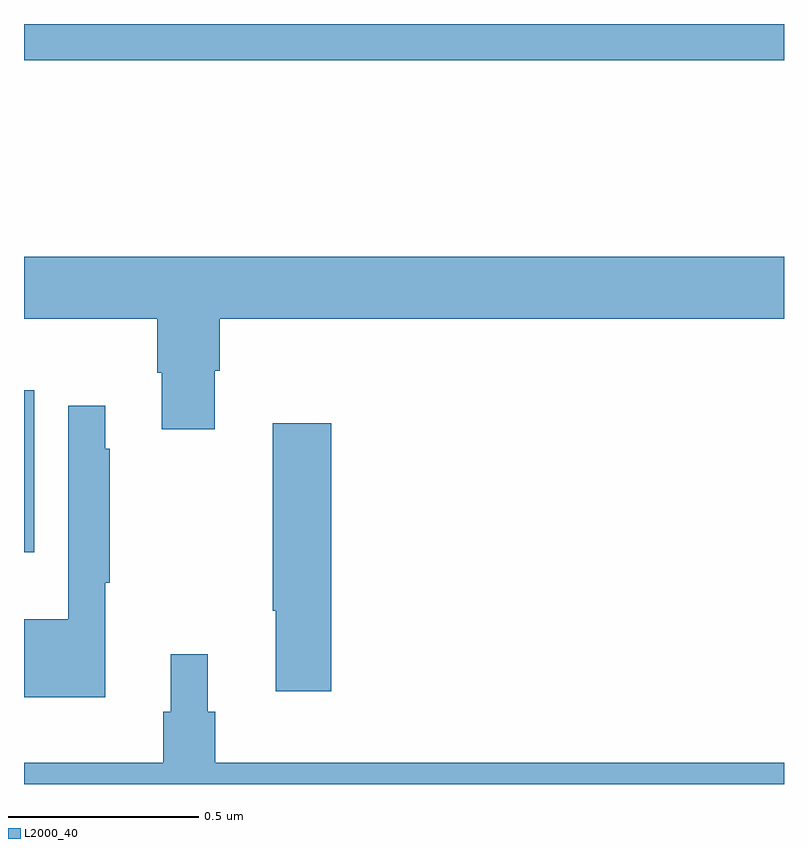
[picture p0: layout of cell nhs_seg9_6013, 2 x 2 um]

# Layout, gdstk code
import gdstk
lib = gdstk.Library(unit=1e-6, precision=1e-09)
def R(c, l, rs):  # rectangles x0, y0, x1, y1
    for r in rs: c.add(gdstk.rectangle(r[:2], r[2:], *l))
def P(c, l, *ps):  # polygons
    for p in ps: c.add(gdstk.Polygon(p, *l))
L2000_40 = (2000, 40)

nhs_seg9_6013 = lib.new_cell('nhs_seg9_6013')
R(nhs_seg9_6013, L2000_40, [(186,1225.11,186.027,1225.536), (186,1226.404,188,1226.5)])
P(nhs_seg9_6013, L2000_40, [(186.502,1225.587),(186.515,1225.587),(186.515,1225.724),(188,1225.724),(188,1225.888),(186,1225.888),(186,1225.724),(186.35,1225.724),(186.35,1225.582),(186.362,1225.582),(186.362,1225.434),(186.502,1225.434)],
  [(186.214,1225.03),(186.226,1225.03),(186.226,1225.382),(186.214,1225.382),(186.214,1225.495),(186.117,1225.495),(186.117,1224.934),(186,1224.934),(186,1224.728),(186.214,1224.728)],
  [(186.809,1225.45),(186.655,1225.45),(186.655,1224.956),(186.662,1224.956),(186.662,1224.744),(186.809,1224.744)],
  [(188,1224.556),(186.503,1224.556),(186.503,1224.69),(186.484,1224.69),(186.484,1224.841),(186.386,1224.841),(186.386,1224.69),(186.367,1224.69),(186.367,1224.556),(186,1224.556),(186,1224.5),(188,1224.5)])

lib.write_gds('nhs_seg9_6013.gds')
